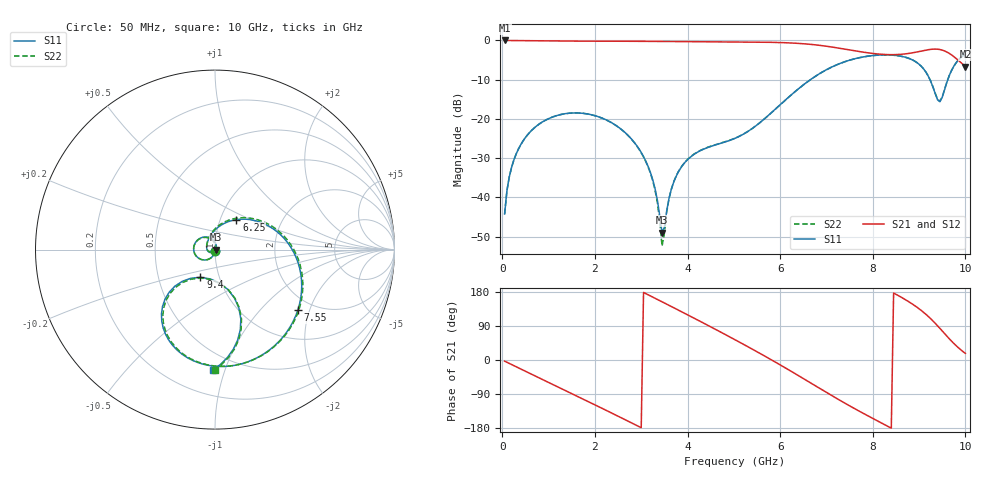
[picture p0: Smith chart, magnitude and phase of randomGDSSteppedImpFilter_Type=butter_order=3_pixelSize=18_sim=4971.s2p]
! freq	dB(S11)	phase(S11)	dB(S12)	phase(S12)
!  dB(S21)	phase(S21)	dB(S22)	phase(S22)
!S-par simulation data
#  GHz  S  DB  R 50
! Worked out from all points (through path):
!   200 points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, 50 MHz to 10 GHz, reference 50 ohm
!   highest |S21| = -0.01 dB at 50 MHz (marker M1); lowest = -6.6 dB at 10 GHz (marker M2)
!   group delay of S21, straight-line fit = 187 ps
!   lowest |S11| = -49.0 dB at 3.45 GHz (marker M3), VSWR 1.01, Z = 50.4 - j0.0615 ohm
!   |S11| at or under -10 dB: start of sweep to 6.654 GHz; 9.234 GHz to 9.62 GHz (385.9 MHz wide, 4.09 % of centre)
!   |S22| runs from -52.5 to -3.5 dB; largest |S21 - S12| = 0
!   S11 on the Smith chart (normalised r, x): 50 MHz: 1.00, -0.01; 6.25 GHz: 1.19, +0.42; 7.55 GHz: 1.67, -1.67; 9.4 GHz: 0.81, -0.26; 10 GHz: 0.38, -0.91
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0.05  -44.26 -89.0  -0.01 -3.0  -0.01 -3.0  -44.26 -89.0
0.2  -32.38 -101.2  -0.03 -12.0  -0.03 -12.0  -32.38 -101.1
0.5  -24.75 -120.0  -0.06 -29.8  -0.06 -29.8  -24.76 -119.8
1.15  -19.25 -159.2  -0.13 -68.1  -0.13 -68.1  -19.26 -158.5
1.75  -18.59 165.0  -0.19 -103.5  -0.19 -103.5  -18.60 166.3
2.9  -26.77 92.9  -0.22 -172.6  -0.22 -172.6  -26.84 99.3
3.25  -35.58 64.0  -0.24 166.0  -0.24 166.0  -35.84 82.8
3.4  -44.77 30.6  -0.25 156.7  -0.25 156.7  -46.18 92.1
3.45  -48.97 -9.9  -0.26 153.6  -0.26 153.6  -52.46 135.3
3.6  -40.30 -106.7  -0.27 144.3  -0.27 144.3  -40.33 -138.4
3.85  -32.58 -134.5  -0.29 128.7  -0.29 128.7  -32.51 -146.4
4.45  -27.24 -178.1  -0.34 90.8  -0.34 90.8  -27.18 178.1
5.05  -24.83 138.6  -0.38 51.9  -0.38 51.9  -24.80 139.3
5.7  -19.59 92.4  -0.46 8.1  -0.46 8.1  -19.61 95.8
6.25  -13.77 54.6  -0.66 -30.7  -0.66 -30.7  -13.79 57.7
6.7  -9.62 22.9  -1.05 -63.5  -1.05 -63.5  -9.64 25.5
7.55  -4.86 -36.1  -2.53 -124.4  -2.53 -124.4  -4.87 -34.3
8.35  -3.70 -85.9  -3.62 -176.6  -3.62 -176.6  -3.70 -84.5
9  -6.08 -126.7  -2.83 135.2  -2.83 135.2  -6.07 -125.4
9.4  -15.17 -117.6  -2.24 90.1  -2.24 90.1  -15.04 -116.4
9.7  -7.68 -69.6  -3.69 49.8  -3.69 49.8  -7.67 -69.1
10  -3.49 -90.7  -6.65 17.3  -6.65 17.3  -3.49 -90.1
